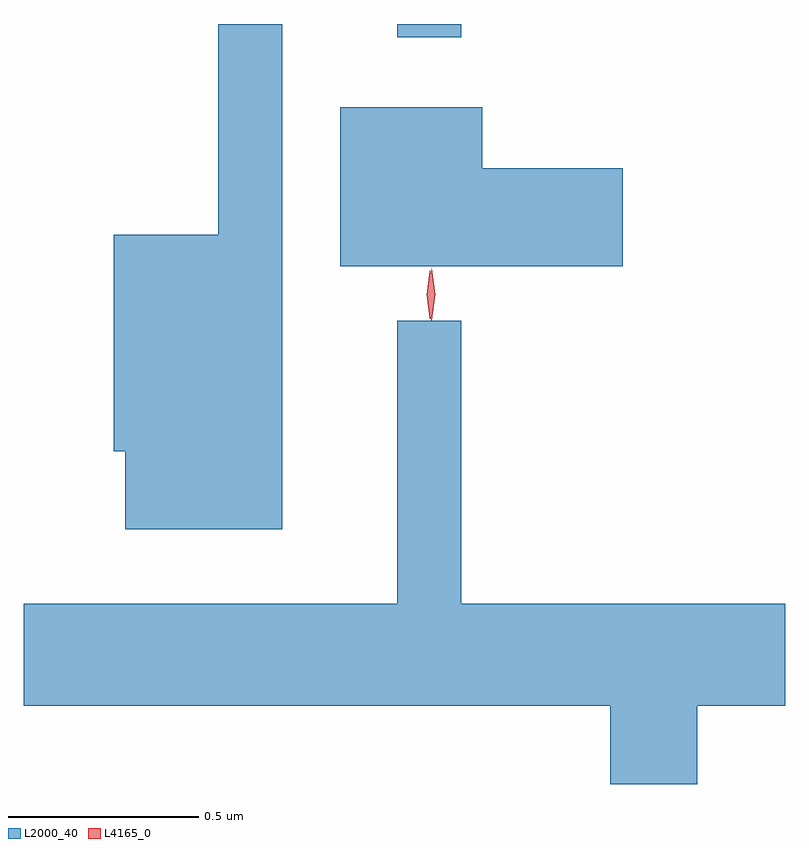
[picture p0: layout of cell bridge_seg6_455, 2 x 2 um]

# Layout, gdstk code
import gdstk
lib = gdstk.Library(unit=1e-6, precision=1e-09)
def R(c, l, rs):  # rectangles x0, y0, x1, y1
    for r in rs: c.add(gdstk.rectangle(r[:2], r[2:], *l))
def P(c, l, *ps):  # polygons
    for p in ps: c.add(gdstk.Polygon(p, *l))
L2000_40 = (2000, 40)
L4165_0 = (4165, 0)

bridge_seg6_455 = lib.new_cell('bridge_seg6_455')
R(bridge_seg6_455, L2000_40, [(830.211,1618.393,830.379,1618.428)])
P(bridge_seg6_455, L2000_40, [(829.909,1618.428),(829.741,1618.428),(829.741,1617.874),(829.466,1617.874),(829.466,1617.306),(829.496,1617.306),(829.496,1617.101),(829.909,1617.101)],
  [(830.804,1618.049),(830.434,1618.049),(830.434,1618.209),(830.061,1618.209),(830.061,1617.791),(830.804,1617.791)],
  [(830.999,1616.636),(831.23,1616.636),(831.23,1616.904),(830.379,1616.904),(830.379,1617.648),(830.211,1617.648),(830.211,1616.904),(829.23,1616.904),(829.23,1616.636),(830.771,1616.636),(830.771,1616.431),(830.999,1616.431)])
P(bridge_seg6_455, L4165_0, [(830.3,1617.65),(830.3,1617.65),(830.291,1617.718),(830.301,1617.785),(830.302,1617.786),(830.302,1617.785),(830.311,1617.718),(830.301,1617.65)],
  [(830.298,1617.653),(830.297,1617.654),(830.288,1617.716),(830.297,1617.78),(830.298,1617.78),(830.298,1617.78),(830.308,1617.716),(830.298,1617.654)])

lib.write_gds('bridge_seg6_455.gds')
